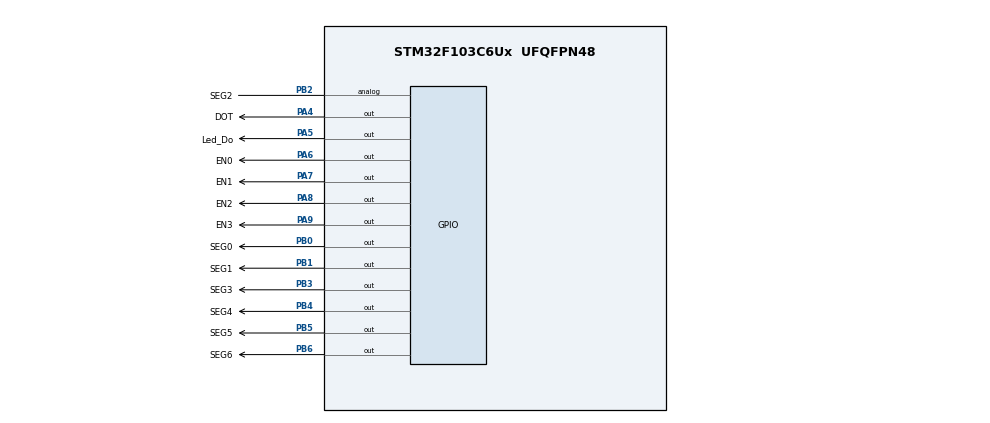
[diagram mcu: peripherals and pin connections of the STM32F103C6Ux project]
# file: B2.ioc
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Mcu.Family=STM32F1
Mcu.Name=STM32F103C6Ux
Mcu.Package=UFQFPN48
NVIC.PriorityGroup=NVIC_PRIORITYGROUP_4
NVIC.TIM2_IRQn=true\:0\:0\:false\:false\:true\:true\:true
PA4.GPIO_Label=DOT
PA4.Signal=GPIO_Output
PA5.GPIO_Label=Led_Do
PA5.Signal=GPIO_Output
PA6.GPIO_Label=EN0
PA6.Signal=GPIO_Output
PA7.GPIO_Label=EN1
PA7.Signal=GPIO_Output
PA8.GPIO_Label=EN2
PA8.Signal=GPIO_Output
PA9.GPIO_Label=EN3
PA9.Signal=GPIO_Output
PB0.GPIO_Label=SEG0
PB0.Signal=GPIO_Output
PB1.GPIO_Label=SEG1
PB1.Signal=GPIO_Output
PB2.GPIO_Label=SEG2
PB2.Signal=GPIO_Analog
PB3.GPIO_Label=SEG3
PB3.Signal=GPIO_Output
PB4.GPIO_Label=SEG4
PB4.Signal=GPIO_Output
PB5.GPIO_Label=SEG5
PB5.Signal=GPIO_Output
PB6.GPIO_Label=SEG6
PB6.Signal=GPIO_Output
ProjectManager.HeapSize=0x200
ProjectManager.StackSize=0x400
ProjectManager.TargetToolchain=STM32CubeIDE
RCC.APB1Freq_Value=8000000
RCC.APB2Freq_Value=8000000
TIM2.Period=9
TIM2.Prescaler=7999
VP_SYS_VS_ND.Mode=No_Debug
VP_TIM2_VS_ClockSourceINT.Mode=Internal
board=custom

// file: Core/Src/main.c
/* USER CODE BEGIN Header */
/**
  ******************************************************************************
  * @file           : main.c
  * @brief          : Main program body
  ******************************************************************************
  * @attention
  *
  * <h2><center>&copy; Copyright (c) 2025 STMicroelectronics.
  * All rights reserved.</center></h2>
  *
  * This software component is licensed by ST under BSD 3-Clause license,
  * the "License"; You may not use this file except in compliance with the
  * License. You may obtain a copy of the License at:
  *                        opensource.org/licenses/BSD-3-Clause
  *
  ******************************************************************************
  */
/* USER CODE END Header */
#include "main.h"

TIM_HandleTypeDef htim2;

/* USER CODE BEGIN PV */
static const uint8_t patterns[10] = {
  0b00111111, // 0
  0b00000110, // 1
  0b01011011, // 2
  0b01001111, // 3
  0b01100110, // 4
  0b01101101, // 5
  0b01111101, // 6
  0b00000111, // 7
  0b01111111, // 8
  0b01101111  // 9
};
/* USER CODE END PV */

void SystemClock_Config(void);
static void MX_GPIO_Init(void);
static void MX_TIM2_Init(void);

int main(void)
{

  /* MCU Configuration--------------------------------------------------------*/

  /* Reset of all peripherals, Initializes the Flash interface and the Systick. */
  HAL_Init();

  /* Configure the system clock */
  SystemClock_Config();

  /* Initialize all configured peripherals */
  MX_GPIO_Init();
  MX_TIM2_Init();
  /* USER CODE BEGIN 2 */
  HAL_TIM_Base_Start_IT(&htim2);
  /* USER CODE END 2 */

  /* Infinite loop */
  while (1)
  {

  }
}

void SystemClock_Config(void)
{
  RCC_OscInitTypeDef RCC_OscInitStruct = {0};
  RCC_ClkInitTypeDef RCC_ClkInitStruct = {0};

  /** Initializes the RCC Oscillators according to the specified parameters
  * in the RCC_OscInitTypeDef structure.
  */
  RCC_OscInitStruct.OscillatorType = RCC_OSCILLATORTYPE_HSI;
  RCC_OscInitStruct.HSIState = RCC_HSI_ON;
  RCC_OscInitStruct.HSICalibrationValue = RCC_HSICALIBRATION_DEFAULT;
  RCC_OscInitStruct.PLL.PLLState = RCC_PLL_NONE;
  if (HAL_RCC_OscConfig(&RCC_OscInitStruct) != HAL_OK)
  {
    Error_Handler();
  }
  /** Initializes the CPU, AHB and APB buses clocks
  */
  RCC_ClkInitStruct.ClockType = RCC_CLOCKTYPE_HCLK|RCC_CLOCKTYPE_SYSCLK
                              |RCC_CLOCKTYPE_PCLK1|RCC_CLOCKTYPE_PCLK2;
  RCC_ClkInitStruct.SYSCLKSource = RCC_SYSCLKSOURCE_HSI;
  RCC_ClkInitStruct.AHBCLKDivider = RCC_SYSCLK_DIV1;
  RCC_ClkInitStruct.APB1CLKDivider = RCC_HCLK_DIV1;
  RCC_ClkInitStruct.APB2CLKDivider = RCC_HCLK_DIV1;

  if (HAL_RCC_ClockConfig(&RCC_ClkInitStruct, FLASH_LATENCY_0) != HAL_OK)
  {
    Error_Handler();
  }
}

static void MX_TIM2_Init(void)
{

  TIM_ClockConfigTypeDef sClockSourceConfig = {0};
  TIM_MasterConfigTypeDef sMasterConfig = {0};

  htim2.Instance = TIM2;
  htim2.Init.Prescaler = 7999;
  htim2.Init.CounterMode = TIM_COUNTERMODE_UP;
  htim2.Init.Period = 9;
  htim2.Init.ClockDivision = TIM_CLOCKDIVISION_DIV1;
  htim2.Init.AutoReloadPreload = TIM_AUTORELOAD_PRELOAD_DISABLE;
  if (HAL_TIM_Base_Init(&htim2) != HAL_OK)
  {
    Error_Handler();
  }
  sClockSourceConfig.ClockSource = TIM_CLOCKSOURCE_INTERNAL;
  if (HAL_TIM_ConfigClockSource(&htim2, &sClockSourceConfig) != HAL_OK)
  {
    Error_Handler();
  }
  sMasterConfig.MasterOutputTrigger = TIM_TRGO_RESET;
  sMasterConfig.MasterSlaveMode = TIM_MASTERSLAVEMODE_DISABLE;
  if (HAL_TIMEx_MasterConfigSynchronization(&htim2, &sMasterConfig) != HAL_OK)
  {
    Error_Handler();
  }

}

static void MX_GPIO_Init(void)
{
  GPIO_InitTypeDef GPIO_InitStruct = {0};

  /* GPIO Ports Clock Enable */
  __HAL_RCC_GPIOA_CLK_ENABLE();
  __HAL_RCC_GPIOB_CLK_ENABLE();

  /*Configure GPIO pin Output Level */
  HAL_GPIO_WritePin(GPIOA, DOT_Pin|Led_Do_Pin|GPIO_PIN_4|GPIO_PIN_5, GPIO_PIN_RESET);
  HAL_GPIO_WritePin(GPIOA, EN0_Pin|EN1_Pin|EN2_Pin|EN3_Pin, GPIO_PIN_SET);

  /*Configure GPIO pin Output Level */
  HAL_GPIO_WritePin(GPIOB, SEG0_Pin|SEG1_Pin|SEG2_Pin|SEG3_Pin|SEG4_Pin
                          |SEG5_Pin|SEG6_Pin, GPIO_PIN_SET);

  /*Configure GPIO pins : DOT_Pin Led_Do_Pin EN0_Pin EN1_Pin
                           EN2_Pin EN3_Pin GPIO_PIN_4 GPIO_PIN_5 */
  GPIO_InitStruct.Pin = DOT_Pin|Led_Do_Pin|EN0_Pin|EN1_Pin
                          |EN2_Pin|EN3_Pin|GPIO_PIN_4|GPIO_PIN_5;
  GPIO_InitStruct.Mode = GPIO_MODE_OUTPUT_PP;
  GPIO_InitStruct.Pull = GPIO_NOPULL;
  GPIO_InitStruct.Speed = GPIO_SPEED_FREQ_LOW;
  HAL_GPIO_Init(GPIOA, &GPIO_InitStruct);

  /*Configure GPIO pins : SEG0_Pin SEG1_Pin SEG2_Pin SEG3_Pin SEG4_Pin
                           SEG5_Pin SEG6_Pin */
  GPIO_InitStruct.Pin = SEG0_Pin|SEG1_Pin|SEG2_Pin|SEG3_Pin|SEG4_Pin
                          |SEG5_Pin|SEG6_Pin;
  GPIO_InitStruct.Mode = GPIO_MODE_OUTPUT_PP;
  GPIO_InitStruct.Pull = GPIO_NOPULL;
  GPIO_InitStruct.Speed = GPIO_SPEED_FREQ_LOW;
  HAL_GPIO_Init(GPIOB, &GPIO_InitStruct);

}

/* USER CODE BEGIN 4 */
void HAL_TIM_PeriodElapsedCallback(TIM_HandleTypeDef *htim) {
  if (htim->Instance == TIM2) {
    static uint32_t counter = 0;
    counter++;

    // Handle 7-segment display
    HAL_GPIO_WritePin(GPIOA, EN0_Pin | EN1_Pin | EN2_Pin | EN3_Pin, GPIO_PIN_SET); // Disable all digits
    uint32_t phase = counter / 25; // Change every 0.5s
    uint32_t index = phase % 4;
    uint8_t digits[4] = {1, 2, 3, 0};
    uint8_t pat = patterns[digits[index]];
    HAL_GPIO_WritePin(GPIOB, SEG0_Pin, (pat & 0x01) ? GPIO_PIN_RESET : GPIO_PIN_SET);
    HAL_GPIO_WritePin(GPIOB, SEG1_Pin, (pat & 0x02) ? GPIO_PIN_RESET : GPIO_PIN_SET);
    HAL_GPIO_WritePin(GPIOB, SEG2_Pin, (pat & 0x04) ? GPIO_PIN_RESET : GPIO_PIN_SET);
    HAL_GPIO_WritePin(GPIOB, SEG3_Pin, (pat & 0x08) ? GPIO_PIN_RESET : GPIO_PIN_SET);
    HAL_GPIO_WritePin(GPIOB, SEG4_Pin, (pat & 0x10) ? GPIO_PIN_RESET : GPIO_PIN_SET);
    HAL_GPIO_WritePin(GPIOB, SEG5_Pin, (pat & 0x20) ? GPIO_PIN_RESET : GPIO_PIN_SET);
    HAL_GPIO_WritePin(GPIOB, SEG6_Pin, (pat & 0x40) ? GPIO_PIN_RESET : GPIO_PIN_SET);
    uint16_t en_pins[4] = {EN0_Pin, EN1_Pin, EN2_Pin, EN3_Pin};
    HAL_GPIO_WritePin(GPIOA, en_pins[index], GPIO_PIN_RESET); // Enable the digit

    // Handle LEDs
    if (counter % 50 == 0) {
      HAL_GPIO_TogglePin(GPIOA, GPIO_PIN_5); // Toggle the LED on PA5
      GPIO_PinState state = HAL_GPIO_ReadPin(GPIOA, GPIO_PIN_5);
      HAL_GPIO_WritePin(GPIOA, DOT_Pin, state); // Set DOT (and connected LEDs) to same state
      HAL_GPIO_WritePin(GPIOA, Led_Do_Pin, state);
      HAL_GPIO_WritePin(GPIOA, GPIO_PIN_4, state);
    }
  }
}
/* USER CODE END 4 */

void Error_Handler(void)
{
  __disable_irq();
  while (1)
  {
  }
}

/************************ (C) COPYRIGHT STMicroelectronics *****END OF FILE****/
